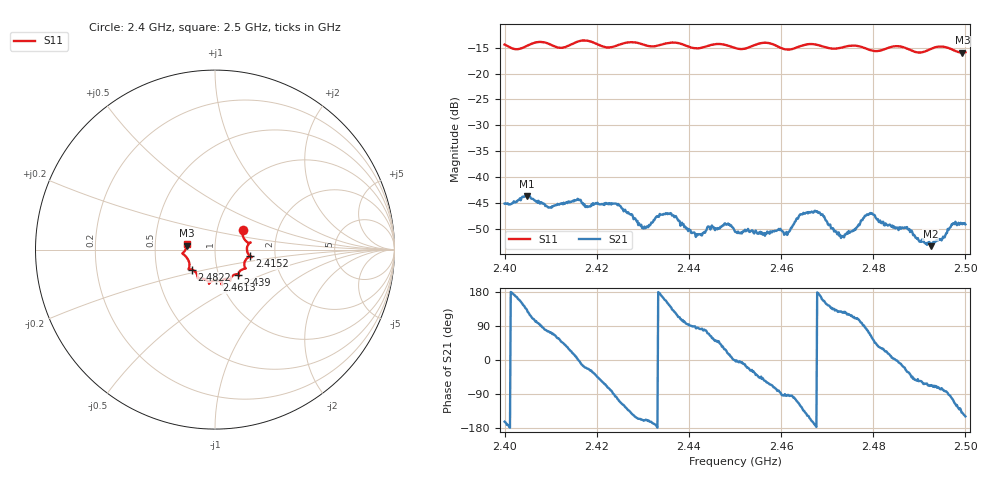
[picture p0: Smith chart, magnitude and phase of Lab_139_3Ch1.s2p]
# Hz S RI R 50
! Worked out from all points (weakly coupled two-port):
!   601 points, 2.4 GHz to 2.5 GHz, reference 50 ohm
!   highest |S21| = -43.66 dB at 2.4048 GHz (marker M1); lowest = -53.4 dB at 2.4925 GHz (marker M2)
!   lowest |S11| = -15.9 dB at 2.4993 GHz (marker M3), VSWR 1.38, Z = 36.3 + j1.6 ohm
!   |S11| at or under -10 dB: start of sweep to end of sweep
!   S12 and S22 are empty: the file has one direction only
!   S11 on the Smith chart (normalised r, x): 2.4 GHz: 1.33, +0.31; 2.4152 GHz: 1.48, -0.11; 2.439 GHz: 1.24, -0.36; 2.4613 GHz: 0.96, -0.34; 2.4822 GHz: 0.76, -0.17; 2.5 GHz: 0.73, +0.05
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2.4e9  0.1554 0.1107  -0.00528 -0.00164  0 0  0 0
2.404833e9  0.1808 0.0407  -0.00446 0.00481  0 0  0 0
2.409667e9  0.1904 0.0345  0.00135 0.00489  0 0  0 0
2.415167e9  0.1945 -0.0369  0.00582 0.00138  0 0  0 0
2.416667e9  0.2039 -0.0425  0.00561 -0.00115  0 0  0 0
2.4245e9  0.1641 -0.0913  -0.00118 -0.00521  0 0  0 0
2.430333e9  0.1547 -0.1095  -0.00308 -0.0012  0 0  0 0
2.433333e9  0.132 -0.1322  -0.00419 5.55e-05  0 0  0 0
2.439e9  0.1282 -0.139  -0.00067 0.00319  0 0  0 0
2.441833e9  0.0999 -0.1443  0.000215 0.00272  0 0  0 0
2.448167e9  0.0831 -0.1687  0.00317 0.00137  0 0  0 0
2.45e9  0.0686 -0.1632  0.00295 -7.17e-05  0 0  0 0
2.461333e9  0.00772 -0.1705  -0.000185 -0.00274  0 0  0 0
2.464333e9  -0.0291 -0.1831  -0.00237 -0.00364  0 0  0 0
2.466667e9  -0.0331 -0.1901  -0.00438 -0.00149  0 0  0 0
2.473167e9  -0.0791 -0.1605  -0.00159 0.00213  0 0  0 0
2.479167e9  -0.1016 -0.136  0.00143 0.00415  0 0  0 0
2.482167e9  -0.1284 -0.1118  0.00321 0.00181  0 0  0 0
2.483333e9  -0.1398 -0.1102  0.00328 0.000968  0 0  0 0
2.4925e9  -0.1703 -0.0306  0.000787 -0.00199  0 0  0 0
2.499333e9  -0.1582 0.0214  -0.00265 -0.00227  0 0  0 0
2.5e9  -0.1575 0.0336  -0.00298 -0.0018  0 0  0 0
